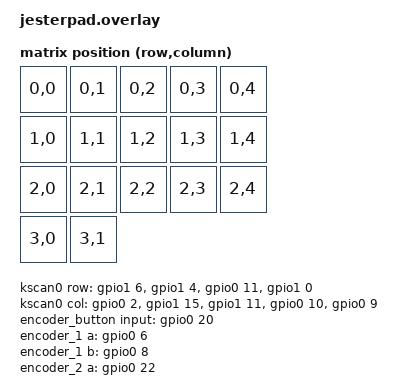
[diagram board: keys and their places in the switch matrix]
#include <dt-bindings/zmk/matrix_transform.h>
#include <dt-bindings/led/led.h>

/ {
    chosen {
        zmk,kscan = &kscan0;
        zmk,matrix_transform = &default_transform;
        zmk,physical-layout = &default_layout;
    };

    kscan0: kscan {
        compatible = "zmk,kscan-gpio-matrix";
        diode-direction = "col2row";
        wakeup-source;

        col-gpios
            = <&gpio0 2 GPIO_ACTIVE_HIGH>    // P0.02 (Column 1)
            , <&gpio1 15 GPIO_ACTIVE_HIGH>   // P1.15 (Column 2)
            , <&gpio1 11 GPIO_ACTIVE_HIGH>   // P1.11 (Column 3)
            , <&gpio0 10 GPIO_ACTIVE_HIGH>   // P0.10 (Column 4)
            , <&gpio0 9 GPIO_ACTIVE_HIGH>    // P0.09 (Column 5)
            ;

        row-gpios
            = <&gpio1 6 (GPIO_ACTIVE_HIGH | GPIO_PULL_DOWN)>   // P1.06 (Row 1)
            , <&gpio1 4 (GPIO_ACTIVE_HIGH | GPIO_PULL_DOWN)>   // P1.04 (Row 2)
            , <&gpio0 11 (GPIO_ACTIVE_HIGH | GPIO_PULL_DOWN)>  // P0.11 (Row 3)
            , <&gpio1 0 (GPIO_ACTIVE_HIGH | GPIO_PULL_DOWN)>   // P1.00 (Row 4)
            ;
    };

    // Direct GPIO button for encoder switch
    encoder_button: encoder_button {
        compatible = "zmk,kscan-gpio-direct";
        input-gpios = <&gpio0 20 (GPIO_ACTIVE_LOW | GPIO_PULL_UP)>;
        wakeup-source;
    };

    default_transform: keymap_transform_0 {
        compatible = "zmk,matrix-transform";
        columns = <5>;
        rows = <4>;

        map = <
            RC(0,0) RC(0,1) RC(0,2) RC(0,3) RC(0,4)
            RC(1,0) RC(1,1) RC(1,2) RC(1,3) RC(1,4)
            RC(2,0) RC(2,1) RC(2,2) RC(2,3) RC(2,4)
            RC(3,0) RC(3,1)
        >;
    };

    // Transform for encoder button (position 20)
    encoder_button_transform: encoder_button_transform {
        compatible = "zmk,matrix-transform";
        columns = <1>;
        rows = <1>;
        map = <RC(0,0)>;
    };

    default_layout: default_layout {
        compatible = "zmk,physical-layout";
        display-name = "Jesterpad Layout";
        transform = <&default_transform>;
        kscan = <&kscan0>;
    };

    // Encoders
    encoder_1: encoder_1 {
    compatible = "alps,ec11";
    a-gpios = <&gpio0 6 (GPIO_ACTIVE_HIGH | GPIO_PULL_UP)>;
    b-gpios = <&gpio0 8 (GPIO_ACTIVE_HIGH | GPIO_PULL_UP)>;
    steps = <20>;
    status = "okay";
    };

    encoder_2: encoder_2 {
        compatible = "alps,ec11";
        a-gpios = <&gpio0 22 (GPIO_ACTIVE_HIGH | GPIO_PULL_UP)>;
        b-gpios = <&gpio0 24 (GPIO_ACTIVE_HIGH | GPIO_PULL_UP)>;
        steps = <80>;
        status = "okay";
    };

    sensors: sensors {
        compatible = "zmk,keymap-sensors";
        sensors = <&encoder_1 &encoder_2>;
        triggers-per-rotation = <20>;
    };
};

// Composite kscan combining matrix and direct button
/ {
    kscan_composite: kscan_composite {
        compatible = "zmk,kscan-composite";
        columns = <6>;  // 5 from matrix + 1 from direct button
        rows = <4>;
        
        // Matrix first (positions 0-19)
        matrix {
            kscan = <&kscan0>;
        };
        
        // Then direct button (position 20)
        direct {
            kscan = <&encoder_button>;
            column-offset = <5>;  // Starts after the 5 matrix columns
        };
    };
    
    chosen {
        zmk,kscan = &kscan_composite;
    };
};

// LED underglow configuration
&spi1 {
    compatible = "nordic,nrf-spi";
    status = "okay";
    
    /* SPI pins - nRF52 style */
    pinctrl-0 = <&spi1_default>;
    pinctrl-1 = <&spi1_sleep>;
    pinctrl-names = "default", "sleep";
    
    led_strip: ws2812@0 {
        compatible = "worldsemi,ws2812-spi";
        
        reg = <0>;
        spi-max-frequency = <4000000>;

        chain-length = <4>;
        spi-one-frame = <0x70>;
        spi-zero-frame = <0x40>;
        color-mapping = <LED_COLOR_ID_GREEN LED_COLOR_ID_RED LED_COLOR_ID_BLUE>;
    };
};

/* Define the SPI pin configuration */
&pinctrl {
    spi1_default: spi1_default {
        group1 {
            psels = <NRF_PSEL(SPIM_MOSI, 0, 17)>;  // P0.17
        };
    };

    spi1_sleep: spi1_sleep {
        group1 {
            psels = <NRF_PSEL(SPIM_MOSI, 0, 17)>;  // P0.17
            low-power-enable;
        };
    };
};

/ {
    chosen {
        zmk,underglow = &led_strip;
    };
};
